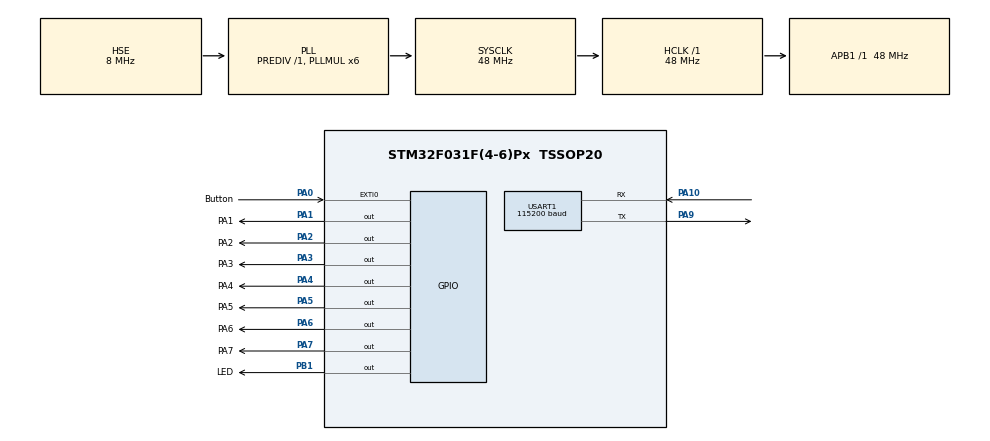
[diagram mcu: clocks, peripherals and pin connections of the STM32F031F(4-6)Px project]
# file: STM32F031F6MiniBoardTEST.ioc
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Mcu.Family=STM32F0
Mcu.Name=STM32F031F(4-6)Px
Mcu.Package=TSSOP20
NVIC.EXTI0_1_IRQn=true\:0\:0\:false\:false\:true
NVIC.TIM3_IRQn=true\:0\:0\:false\:false\:true
NVIC.USART1_IRQn=true\:0\:0\:false\:false\:true
PA0.GPIO_Label=Button
PA0.Signal=GPXTI0
PA1.GPIO_Label=PA1
PA1.GPIO_ModeDefaultOutputPP=GPIO_MODE_OUTPUT_OD
PA1.Signal=GPIO_Output
PA10.Mode=Asynchronous
PA10.Signal=USART1_RX
PA13.Mode=Serial_Wire
PA13.Signal=SYS_SWDIO
PA14.Mode=Serial_Wire
PA14.Signal=SYS_SWCLK
PA2.GPIO_Label=PA2
PA2.GPIO_ModeDefaultOutputPP=GPIO_MODE_OUTPUT_OD
PA2.Signal=GPIO_Output
PA3.GPIO_Label=PA3
PA3.GPIO_ModeDefaultOutputPP=GPIO_MODE_OUTPUT_OD
PA3.Signal=GPIO_Output
PA4.GPIO_Label=PA4
PA4.GPIO_ModeDefaultOutputPP=GPIO_MODE_OUTPUT_OD
PA4.Signal=GPIO_Output
PA5.GPIO_Label=PA5
PA5.GPIO_ModeDefaultOutputPP=GPIO_MODE_OUTPUT_OD
PA5.Signal=GPIO_Output
PA6.GPIO_Label=PA6
PA6.GPIO_ModeDefaultOutputPP=GPIO_MODE_OUTPUT_OD
PA6.Signal=GPIO_Output
PA7.GPIO_Label=PA7
PA7.GPIO_ModeDefaultOutputPP=GPIO_MODE_OUTPUT_OD
PA7.Signal=GPIO_Output
PA9.Mode=Asynchronous
PA9.Signal=USART1_TX
PB1.GPIO_Label=LED
PB1.GPIO_ModeDefaultOutputPP=GPIO_MODE_OUTPUT_PP
PB1.GPIO_PuPd=GPIO_PULLUP
PB1.Signal=GPIO_Output
PF0-OSC_IN.Mode=HSE-External-Oscillator
PF0-OSC_IN.Signal=RCC_OSC_IN
PF1-OSC_OUT.Mode=HSE-External-Oscillator
PF1-OSC_OUT.Signal=RCC_OSC_OUT
ProjectManager.HeapSize=0x200
ProjectManager.StackSize=0x400
ProjectManager.TargetToolchain=TrueSTUDIO
RCC.AHBFreq_Value=48000000
RCC.APB1Freq_Value=48000000
RCC.APB1TimFreq_Value=48000000
RCC.HCLKFreq_Value=48000000
RCC.PLLMUL=RCC_PLL_MUL6
RCC.PLLSourceVirtual=RCC_PLLSOURCE_HSE
RCC.SYSCLKFreq_VALUE=48000000
RCC.SYSCLKSource=RCC_SYSCLKSOURCE_PLLCLK
TIM3.Period=2000
TIM3.Prescaler=4800
TIM3.TIM_MasterOutputTrigger=TIM_TRGO_UPDATE
USART1.BaudRate=115200
USART1.VirtualMode-Asynchronous=VM_ASYNC
VP_TIM3_VS_ClockSourceINT.Mode=Internal
board=STM32F031F6MiniBoardTEST

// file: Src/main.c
/**
  ******************************************************************************
  * File Name          : main.c
  * Description        : Main program body
  ******************************************************************************
  ** This notice applies to any and all portions of this file
  * that are not between comment pairs USER CODE BEGIN and
  * USER CODE END. Other portions of this file, whether
  * inserted by the user or by software development tools
  * are owned by their respective copyright owners.
  *
  * COPYRIGHT(c) 2018 STMicroelectronics
  *
  * Redistribution and use in source and binary forms, with or without modification,
  * are permitted provided that the following conditions are met:
  *   1. Redistributions of source code must retain the above copyright notice,
  *      this list of conditions and the following disclaimer.
  *   2. Redistributions in binary form must reproduce the above copyright notice,
  *      this list of conditions and the following disclaimer in the documentation
  *      and/or other materials provided with the distribution.
  *   3. Neither the name of STMicroelectronics nor the names of its contributors
  *      may be used to endorse or promote products derived from this software
  *      without specific prior written permission.
  *
  * THIS SOFTWARE IS PROVIDED BY THE COPYRIGHT HOLDERS AND CONTRIBUTORS "AS IS"
  * AND ANY EXPRESS OR IMPLIED WARRANTIES, INCLUDING, BUT NOT LIMITED TO, THE
  * IMPLIED WARRANTIES OF MERCHANTABILITY AND FITNESS FOR A PARTICULAR PURPOSE ARE
  * DISCLAIMED. IN NO EVENT SHALL THE COPYRIGHT HOLDER OR CONTRIBUTORS BE LIABLE
  * FOR ANY DIRECT, INDIRECT, INCIDENTAL, SPECIAL, EXEMPLARY, OR CONSEQUENTIAL
  * DAMAGES (INCLUDING, BUT NOT LIMITED TO, PROCUREMENT OF SUBSTITUTE GOODS OR
  * SERVICES; LOSS OF USE, DATA, OR PROFITS; OR BUSINESS INTERRUPTION) HOWEVER
  * CAUSED AND ON ANY THEORY OF LIABILITY, WHETHER IN CONTRACT, STRICT LIABILITY,
  * OR TORT (INCLUDING NEGLIGENCE OR OTHERWISE) ARISING IN ANY WAY OUT OF THE USE
  * OF THIS SOFTWARE, EVEN IF ADVISED OF THE POSSIBILITY OF SUCH DAMAGE.
  *
  ******************************************************************************
  */
#include "main.h"
#include "stm32f0xx_hal.h"

/* USER CODE BEGIN Includes */
#ifdef __GNUC__
/* With GCC/RAISONANCE, small printf (option LD Linker->Libraries->Small printf
   set to 'Yes') calls __io_putchar() */
#define PUTCHAR_PROTOTYPE int __io_putchar(int ch)
#else
#define PUTCHAR_PROTOTYPE int fputc(int ch, FILE *f)
#endif /* __GNUC__ */

/* USER CODE END Includes */

TIM_HandleTypeDef htim3;

UART_HandleTypeDef huart1;

/* USER CODE BEGIN PV */
/* Private variables ---------------------------------------------------------*/
uint8_t TimingFlag;
uint8_t LedP = 0x01;

uint8_t _count;
uint8_t aRxBuffer[1];

/* USER CODE END PV */

void SystemClock_Config(void);
static void MX_GPIO_Init(void);
static void MX_TIM3_Init(void);
static void MX_USART1_UART_Init(void);

/* USER CODE BEGIN PFP */
/* Private function prototypes -----------------------------------------------*/

/* USER CODE END PFP */

int main(void)
{

  /* MCU Configuration----------------------------------------------------------*/

  /* Reset of all peripherals, Initializes the Flash interface and the Systick. */
  HAL_Init();

  /* Configure the system clock */
  SystemClock_Config();

  /* Initialize all configured peripherals */
  MX_GPIO_Init();
  MX_TIM3_Init();
  MX_USART1_UART_Init();

  /* USER CODE BEGIN 2 */

  printf("STM32F031x6 MiniBoard\r\n");

  HAL_GPIO_WritePin(GPIOA, PA1_Pin|PA2_Pin|PA3_Pin|PA4_Pin
                          |PA5_Pin|PA6_Pin|PA7_Pin, GPIO_PIN_RESET);
  HAL_Delay(3000);

  HAL_GPIO_WritePin(GPIOA, PA1_Pin|PA2_Pin|PA3_Pin|PA4_Pin
                          |PA5_Pin|PA6_Pin, GPIO_PIN_SET);

  if(HAL_UART_Receive_IT(&huart1, (uint8_t *)aRxBuffer, 1) != HAL_OK)
  {
  }

  if(HAL_TIM_Base_Start_IT(&htim3) != HAL_OK)
  {

  }

  /* USER CODE END 2 */

  /* Infinite loop */
  while (1)
  {

	  HAL_GPIO_TogglePin(LED_GPIO_Port, LED_Pin);
	  if(TimingFlag == 0)
	    HAL_Delay(300);
	  else
		 HAL_Delay(50);

  }

}

void HAL_UART_RxCpltCallback (UART_HandleTypeDef * huart)
{
	printf("UARTReceive[%02x]\r\n",aRxBuffer[0]);

	  if(HAL_UART_Receive_IT(&huart1, (uint8_t *)aRxBuffer, 1) != HAL_OK)
	  {
	  }
}

void HAL_TIM_PeriodElapsedCallback(TIM_HandleTypeDef *htim)
{

	  HAL_GPIO_WritePin(GPIOA,(uint16_t)LedP ,GPIO_PIN_RESET);

		  _count++;
		  if(_count >5)
		  {
			  _count = 0;
			  LedP = 0x01;
		  }
		  else
		  {
			  LedP = LedP <<1;
		  }

		  HAL_GPIO_WritePin(GPIOA,(uint16_t)LedP ,GPIO_PIN_SET);
}

void HAL_GPIO_EXTI_Callback (uint16_t GPIO_Pin)
{
	if(GPIO_Pin == GPIO_PIN_0)
	{

		HAL_GPIO_TogglePin(GPIOA, PA6_Pin|PA7_Pin);

		if(TimingFlag == 0)
		{
			TimingFlag = 1;
		}
		else
		{
			TimingFlag = 0;
		}

	}
}

PUTCHAR_PROTOTYPE
{
  /* Place your implementation of fputc here */
  /* e.g. write a character to the USART1 and Loop until the end of transmission */
  HAL_UART_Transmit(&huart1, (uint8_t *)&ch, 1, 0xFFFF);
  return ch;
}

/** System Clock Configuration
*/
void SystemClock_Config(void)
{

  RCC_OscInitTypeDef RCC_OscInitStruct;
  RCC_ClkInitTypeDef RCC_ClkInitStruct;
  RCC_PeriphCLKInitTypeDef PeriphClkInit;

    /**Initializes the CPU, AHB and APB busses clocks
    */
  RCC_OscInitStruct.OscillatorType = RCC_OSCILLATORTYPE_HSE;
  RCC_OscInitStruct.HSEState = RCC_HSE_ON;
  RCC_OscInitStruct.HSIState = RCC_HSI_ON;
  RCC_OscInitStruct.PLL.PLLState = RCC_PLL_ON;
  RCC_OscInitStruct.PLL.PLLSource = RCC_PLLSOURCE_HSE;
  RCC_OscInitStruct.PLL.PLLMUL = RCC_PLL_MUL6;
  RCC_OscInitStruct.PLL.PREDIV = RCC_PREDIV_DIV1;
  if (HAL_RCC_OscConfig(&RCC_OscInitStruct) != HAL_OK)
  {
    _Error_Handler(__FILE__, __LINE__);
  }

    /**Initializes the CPU, AHB and APB busses clocks
    */
  RCC_ClkInitStruct.ClockType = RCC_CLOCKTYPE_HCLK|RCC_CLOCKTYPE_SYSCLK
                              |RCC_CLOCKTYPE_PCLK1;
  RCC_ClkInitStruct.SYSCLKSource = RCC_SYSCLKSOURCE_PLLCLK;
  RCC_ClkInitStruct.AHBCLKDivider = RCC_SYSCLK_DIV1;
  RCC_ClkInitStruct.APB1CLKDivider = RCC_HCLK_DIV1;

  if (HAL_RCC_ClockConfig(&RCC_ClkInitStruct, FLASH_LATENCY_1) != HAL_OK)
  {
    _Error_Handler(__FILE__, __LINE__);
  }

  PeriphClkInit.PeriphClockSelection = RCC_PERIPHCLK_USART1;
  PeriphClkInit.Usart1ClockSelection = RCC_USART1CLKSOURCE_PCLK1;
  if (HAL_RCCEx_PeriphCLKConfig(&PeriphClkInit) != HAL_OK)
  {
    _Error_Handler(__FILE__, __LINE__);
  }

    /**Configure the Systick interrupt time
    */
  HAL_SYSTICK_Config(HAL_RCC_GetHCLKFreq()/1000);

    /**Configure the Systick
    */
  HAL_SYSTICK_CLKSourceConfig(SYSTICK_CLKSOURCE_HCLK);

  /* SysTick_IRQn interrupt configuration */
  HAL_NVIC_SetPriority(SysTick_IRQn, 0, 0);
}

/* TIM3 init function */
static void MX_TIM3_Init(void)
{

	  TIM_ClockConfigTypeDef sClockSourceConfig;
	  TIM_MasterConfigTypeDef sMasterConfig;

	  htim3.Instance = TIM3;
	  htim3.Init.Prescaler = 4800 - 1;
	  htim3.Init.CounterMode = TIM_COUNTERMODE_UP;
	  htim3.Init.Period = 5000-1;
	  htim3.Init.ClockDivision = TIM_CLOCKDIVISION_DIV1;
	  htim3.Init.AutoReloadPreload = TIM_AUTORELOAD_PRELOAD_DISABLE;
	  if (HAL_TIM_Base_Init(&htim3) != HAL_OK)
	  {
	    _Error_Handler(__FILE__, __LINE__);
	  }

	  sClockSourceConfig.ClockSource = TIM_CLOCKSOURCE_INTERNAL;
	  if (HAL_TIM_ConfigClockSource(&htim3, &sClockSourceConfig) != HAL_OK)
	  {
	    _Error_Handler(__FILE__, __LINE__);
	  }

	  sMasterConfig.MasterOutputTrigger = TIM_TRGO_RESET;
	  sMasterConfig.MasterSlaveMode = TIM_MASTERSLAVEMODE_DISABLE;
	  if (HAL_TIMEx_MasterConfigSynchronization(&htim3, &sMasterConfig) != HAL_OK)
	  {
	    _Error_Handler(__FILE__, __LINE__);
	  }

}

/* USART1 init function */
static void MX_USART1_UART_Init(void)
{

  huart1.Instance = USART1;
  huart1.Init.BaudRate = 115200;
  huart1.Init.WordLength = UART_WORDLENGTH_8B;
  huart1.Init.StopBits = UART_STOPBITS_1;
  huart1.Init.Parity = UART_PARITY_NONE;
  huart1.Init.Mode = UART_MODE_TX_RX;
  huart1.Init.HwFlowCtl = UART_HWCONTROL_NONE;
  huart1.Init.OverSampling = UART_OVERSAMPLING_16;
  huart1.Init.OneBitSampling = UART_ONE_BIT_SAMPLE_DISABLE;
  huart1.AdvancedInit.AdvFeatureInit = UART_ADVFEATURE_NO_INIT;
  if (HAL_UART_Init(&huart1) != HAL_OK)
  {
    _Error_Handler(__FILE__, __LINE__);
  }

}

/** Configure pins as
        * Analog
        * Input
        * Output
        * EVENT_OUT
        * EXTI
*/
static void MX_GPIO_Init(void)
{

  GPIO_InitTypeDef GPIO_InitStruct;

  /* GPIO Ports Clock Enable */
  __HAL_RCC_GPIOF_CLK_ENABLE();
  __HAL_RCC_GPIOA_CLK_ENABLE();
  __HAL_RCC_GPIOB_CLK_ENABLE();

  /*Configure GPIO pin Output Level */
  HAL_GPIO_WritePin(GPIOA, PA1_Pin|PA2_Pin|PA3_Pin|PA4_Pin
                          |PA5_Pin|PA6_Pin|PA7_Pin, GPIO_PIN_SET);

  /*Configure GPIO pin Output Level */
  HAL_GPIO_WritePin(LED_GPIO_Port, LED_Pin, GPIO_PIN_RESET);

  /*Configure GPIO pin : Button_Pin */
  GPIO_InitStruct.Pin = Button_Pin;
  GPIO_InitStruct.Mode = GPIO_MODE_IT_RISING;
  GPIO_InitStruct.Pull = GPIO_NOPULL;
  HAL_GPIO_Init(Button_GPIO_Port, &GPIO_InitStruct);

  /*Configure GPIO pins : PA1_Pin PA2_Pin PA3_Pin PA4_Pin
                           PA5_Pin PA6_Pin PA7_Pin */
  GPIO_InitStruct.Pin = PA1_Pin|PA2_Pin|PA3_Pin|PA4_Pin
                          |PA5_Pin|PA6_Pin|PA7_Pin;
  GPIO_InitStruct.Mode = GPIO_MODE_OUTPUT_OD;
  GPIO_InitStruct.Pull = GPIO_NOPULL;
  GPIO_InitStruct.Speed = GPIO_SPEED_FREQ_LOW;
  HAL_GPIO_Init(GPIOA, &GPIO_InitStruct);

  /*Configure GPIO pin : LED_Pin */
  GPIO_InitStruct.Pin = LED_Pin;
  GPIO_InitStruct.Mode = GPIO_MODE_OUTPUT_PP;
  GPIO_InitStruct.Pull = GPIO_PULLUP;
  GPIO_InitStruct.Speed = GPIO_SPEED_FREQ_LOW;
  HAL_GPIO_Init(LED_GPIO_Port, &GPIO_InitStruct);

  /* EXTI interrupt init*/
  HAL_NVIC_SetPriority(EXTI0_1_IRQn, 0, 0);
  HAL_NVIC_EnableIRQ(EXTI0_1_IRQn);

}

void _Error_Handler(char * file, int line)
{
  while(1)
  {
  }
}

/************************ (C) COPYRIGHT STMicroelectronics *****END OF FILE****/
